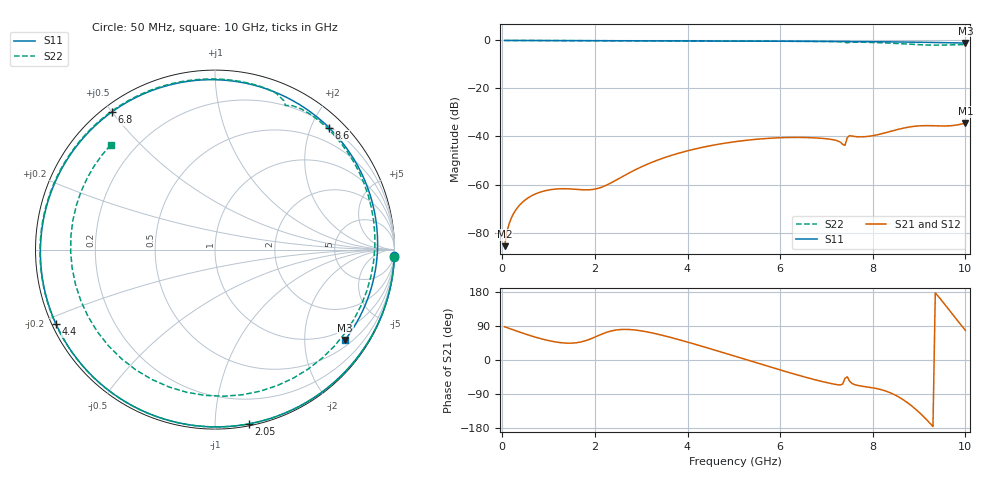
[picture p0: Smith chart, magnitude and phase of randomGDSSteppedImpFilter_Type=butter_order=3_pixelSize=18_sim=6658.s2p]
! freq	dB(S11)	phase(S11)	dB(S12)	phase(S12)
!  dB(S21)	phase(S21)	dB(S22)	phase(S22)
!S-par simulation data
#  GHz  S  DB  R 50
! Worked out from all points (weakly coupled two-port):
!   200 points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, 50 MHz to 10 GHz, reference 50 ohm
!   highest |S21| = -34.44 dB at 10 GHz (marker M1); lowest = -85.7 dB at 50 MHz (marker M2)
!   lowest |S11| = -1.1 dB at 10 GHz (marker M3), VSWR 16.03, Z = 33.6 - j153 ohm
!   |S11| at or under -10 dB: nowhere
!   |S22| runs from -1.9 to 0.0 dB; largest |S21 - S12| = 0
!   S11 on the Smith chart (normalised r, x): 50 MHz: 0, -57; 2.05 GHz: 0.01, -1.21; 4.4 GHz: 0.01, -0.22; 6.8 GHz: 0.03, +0.50; 8.6 GHz: 0.23, +2.28; 10 GHz: 0.67, -3.06
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0.05  -0.00 -2.0  -85.69 87.8  -85.69 87.8  -0.00 -2.3
0.3  -0.01 -12.1  -70.36 76.8  -70.36 76.8  -0.01 -13.5
0.65  -0.03 -26.2  -64.53 62.6  -64.53 62.6  -0.03 -29.1
1.75  -0.08 -68.2  -62.20 49.1  -62.20 49.1  -0.09 -75.3
2.05  -0.10 -79.0  -61.69 63.2  -61.69 63.2  -0.10 -87.0
3.4  -0.15 -124.0  -49.51 66.9  -49.51 66.9  -0.15 -135.6
4.4  -0.19 -154.9  -44.20 33.0  -44.20 33.0  -0.20 -168.9
5.05  -0.23 -174.8  -42.10 9.1  -42.10 9.1  -0.24 169.1
5.9  -0.29 158.2  -40.60 -22.5  -40.60 -22.5  -0.31 138.4
6.7  -0.36 130.6  -40.53 -50.5  -40.53 -50.5  -0.40 104.4
6.8  -0.37 126.9  -40.64 -53.6  -40.64 -53.6  -0.41 99.6
7.4  -0.44 103.3  -43.68 -48.4  -43.68 -48.4  -0.78 65.2
7.5  -0.45 99.1  -39.68 -56.1  -39.68 -56.1  -0.81 61.7
7.65  -0.47 92.7  -40.10 -66.4  -40.10 -66.4  -0.70 51.3
8.05  -0.53 74.5  -39.48 -74.5  -39.48 -74.5  -0.86 19.5
8.35  -0.58 59.8  -38.05 -85.1  -38.05 -85.1  -1.10 -9.8
8.6  -0.63 47.0  -36.79 -100.4  -36.79 -100.4  -1.36 -38.9
8.8  -0.68 36.2  -36.02 -117.3  -36.02 -117.3  -1.58 -65.3
9  -0.73 25.1  -35.58 -138.0  -35.58 -138.0  -1.79 -93.9
9.4  -0.85 1.9  -35.58 170.1  -35.58 170.1  -1.94 -152.2
9.65  -0.94 -13.2  -35.57 132.0  -35.57 132.0  -1.87 174.5
10  -1.09 -34.7  -34.44 78.5  -34.44 78.5  -1.69 134.7
